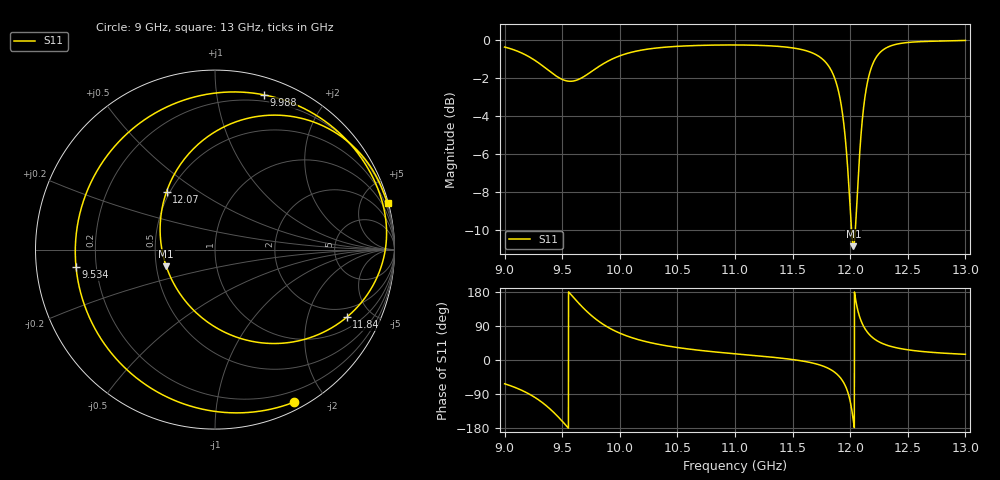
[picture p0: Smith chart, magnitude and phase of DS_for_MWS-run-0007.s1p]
! TOUCHSTONE file generated by CST DESIGN STUDIO
! Date and time: Tue Feb  4 14:19:26 2025
! Project name: C:\Work\MatlabApps\UnitCellOptimizationMatlab\CST\unitcell.cst
! Tree item: Tasks\Sweep1\SPara1\S-Parameters
! Header version: 2024
! Port assignment regex: !\s*Touchstone port\s*([0-9]+)\s*=\s*(CST MWS port|CST DES external port|CST DES block port)\s*(.+)\s* \(\"(.*)\"\)(\s*mode\s*([0-9]+))?.*
! Touchstone port assignment:
! Touchstone port 1 = CST DES external port 1 ("")
# GHz S MA R 50
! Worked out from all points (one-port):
!   4001 points, 9 GHz to 13 GHz, reference 50 ohm
!   lowest |S11| = -10.8 dB at 12.03 GHz (marker M1), VSWR 1.81, Z = 28.2 - j5.72 ohm
!   |S11| at or under -10 dB: 12.01133 GHz to 12.04435 GHz (33.01 MHz wide, 0.274 % of centre)
!   S11 on the Smith chart (normalised r, x): 9 GHz: 0.08, -1.64; 9.534 GHz: 0.12, -0.06; 9.988 GHz: 0.14, +1.36; 11.84 GHz: 1.50, -3.53; 12.07 GHz: 0.48, +0.38; 13 GHz: 0.13, +7.59
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9  0.9568 -62.7
9.171  0.9161 -83.2
9.291  0.8711 -104.4
9.395  0.8248 -129.4
9.5  0.7867 -161.5
9.534  0.7803 -172.9
9.63  0.7842 154.3
9.752  0.8243 117.8
9.856  0.8646 94.0
9.988  0.9045 72.4
10  0.9073 70.8
10.215  0.9422 49.4
10.5  0.961 32.9
11  0.9689 16.3
11.5  0.9519 1.2
11.716  0.9092 -11.3
11.841  0.8247 -27.2
11.895  0.7399 -40.2
11.942  0.6104 -59.0
12  0.3596 -108.9
12.028  0.2872 -161.1
12.067  0.4211 129.8
12.112  0.6461 91.5
12.164  0.8073 68.0
12.221  0.8944 53.1
12.289  0.9423 42.4
12.5  0.9836 26.9
13  0.9957 15.0
